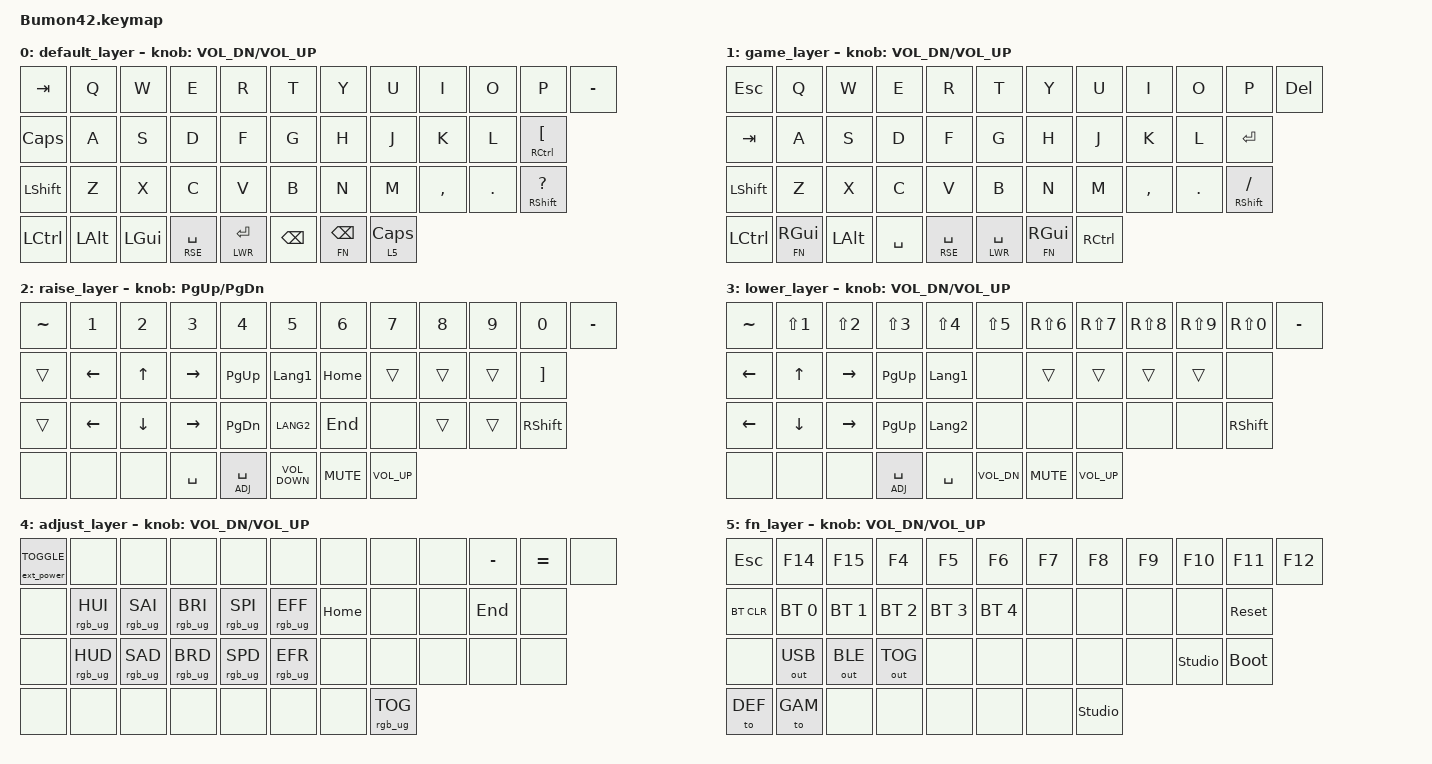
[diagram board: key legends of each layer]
#include <behaviors.dtsi>
#include <dt-bindings/zmk/bt.h>
#include <dt-bindings/zmk/ext_power.h>
#include <dt-bindings/zmk/keys.h>
#include <dt-bindings/zmk/outputs.h>
#include <dt-bindings/zmk/rgb.h>

// changed lwr and rse

#define DEF 0
#define GAM 1
#define RSE 2
#define LWR 3
#define ADJ 4
#define FN  5

/ {
    keymap {
        compatible = "zmk,keymap";

        default_layer {
            bindings = <
&kp TAB    &kp Q         &kp W         &kp E          &kp R          &kp T          &kp Y             &kp U       &kp I      &kp O    &kp P                           &kp MINUS
&kp CAPS   &kp A         &kp S         &kp D          &kp F          &kp G          &kp H             &kp J       &kp K      &kp L    &mt RIGHT_CONTROL LEFT_BRACKET
&kp LSHFT  &kp Z         &kp X         &kp C          &kp V          &kp B          &kp N             &kp M       &kp COMMA  &kp DOT  &mt RSHIFT QMARK
&kp LCTRL  &kp LEFT_ALT  &kp LEFT_GUI  &lt RSE SPACE  &lt LWR ENTER  &kp BACKSPACE  &lt FN BACKSPACE  &lt 5 CLCK
            >;

            sensor-bindings = <&inc_dec_kp C_VOL_DN C_VOL_UP>;
        };

        game_layer {
            bindings = <
&kp ESC    &kp Q        &kp W     &kp E      &kp R          &kp T          &kp Y        &kp U      &kp I      &kp O    &kp P             &kp DEL
&kp TAB    &kp A        &kp S     &kp D      &kp F          &kp G          &kp H        &kp J      &kp K      &kp L    &kp ENTER
&kp LSHFT  &kp Z        &kp X     &kp C      &kp V          &kp B          &kp N        &kp M      &kp COMMA  &kp DOT  &mt RSHIFT SLASH
&kp LCTRL  &lt FN RGUI  &kp LALT  &kp SPACE  &lt RSE SPACE  &lt LWR SPACE  &lt FN RGUI  &kp RCTRL
            >;

            sensor-bindings = <&inc_dec_kp C_VOL_DN C_VOL_UP>;
        };

        raise_layer {
            bindings = <
&kp TILDE  &kp N1    &kp N2          &kp N3     &kp N4         &kp N5             &kp N6      &kp N7           &kp N8  &kp N9  &kp N0             &kp MINUS
&trans     &kp LEFT  &kp UP_ARROW    &kp RIGHT  &kp PAGE_UP    &kp LANGUAGE_1     &kp HOME    &trans           &trans  &trans  &kp RIGHT_BRACKET
&trans     &kp LEFT  &kp DOWN_ARROW  &kp RIGHT  &kp PAGE_DOWN  &kp LANG2          &kp END     &none            &trans  &trans  &kp RSHFT
&none      &none     &none           &kp SPACE  &lt ADJ SPACE  &kp C_VOLUME_DOWN  &kp C_MUTE  &kp C_VOLUME_UP
            >;

            sensor-bindings = <&inc_dec_kp PG_UP PG_DN>;
        };

        lower_layer {
            bindings = <
&kp TILDE       &kp LS(NUMBER_1)  &kp LS(NUMBER_2)  &kp LS(NUMBER_3)  &kp LS(NUMBER_4)  &kp LS(N5)    &kp RS(NUMBER_6)  &kp RS(N7)    &kp RS(N8)  &kp RS(N9)  &kp RS(N0)  &kp MINUS
&kp LEFT        &kp UP_ARROW      &kp RIGHT         &kp PAGE_UP       &kp LANGUAGE_1    &none         &trans            &trans        &trans      &trans      &none
&kp LEFT_ARROW  &kp DOWN          &kp RIGHT_ARROW   &kp PAGE_UP       &kp LANGUAGE_2    &none         &none             &none         &none       &none       &kp RSHFT
&none           &none             &none             &lt ADJ SPACE     &kp SPACE         &kp C_VOL_DN  &kp C_MUTE        &kp C_VOL_UP
            >;

            sensor-bindings = <&inc_dec_kp C_VOL_DN C_VOL_UP>;
        };

        adjust_layer {
            bindings = <
&ext_power EXT_POWER_TOGGLE_CMD  &none            &none            &none            &none            &none            &none     &none            &none  &kp MINUS  &kp EQUAL  &none
&none                            &rgb_ug RGB_HUI  &rgb_ug RGB_SAI  &rgb_ug RGB_BRI  &rgb_ug RGB_SPI  &rgb_ug RGB_EFF  &kp HOME  &none            &none  &kp END    &none
&none                            &rgb_ug RGB_HUD  &rgb_ug RGB_SAD  &rgb_ug RGB_BRD  &rgb_ug RGB_SPD  &rgb_ug RGB_EFR  &none     &none            &none  &none      &none
&none                            &none            &none            &none            &none            &none            &none     &rgb_ug RGB_TOG
            >;

            sensor-bindings = <&inc_dec_kp C_VOL_DN C_VOL_UP>;
        };

        fn_layer {
            bindings = <
&kp ESCAPE  &kp F14       &kp F15       &kp F4        &kp F5        &kp F6        &kp F7  &kp F8          &kp F9  &kp F10         &kp F11      &kp F12
&bt BT_CLR  &bt BT_SEL 0  &bt BT_SEL 1  &bt BT_SEL 2  &bt BT_SEL 3  &bt BT_SEL 4  &none   &none           &none   &none           &sys_reset
&none       &out OUT_USB  &out OUT_BLE  &out OUT_TOG  &none         &none         &none   &none           &none   &studio_unlock  &bootloader
&to DEF     &to GAM       &none         &none         &none         &none         &none   &studio_unlock
            >;

            sensor-bindings = <&inc_dec_kp C_VOL_DN C_VOL_UP>;
        };

        extra1 { status = "reserved"; };

        extra2 { status = "reserved"; };
    };
};
